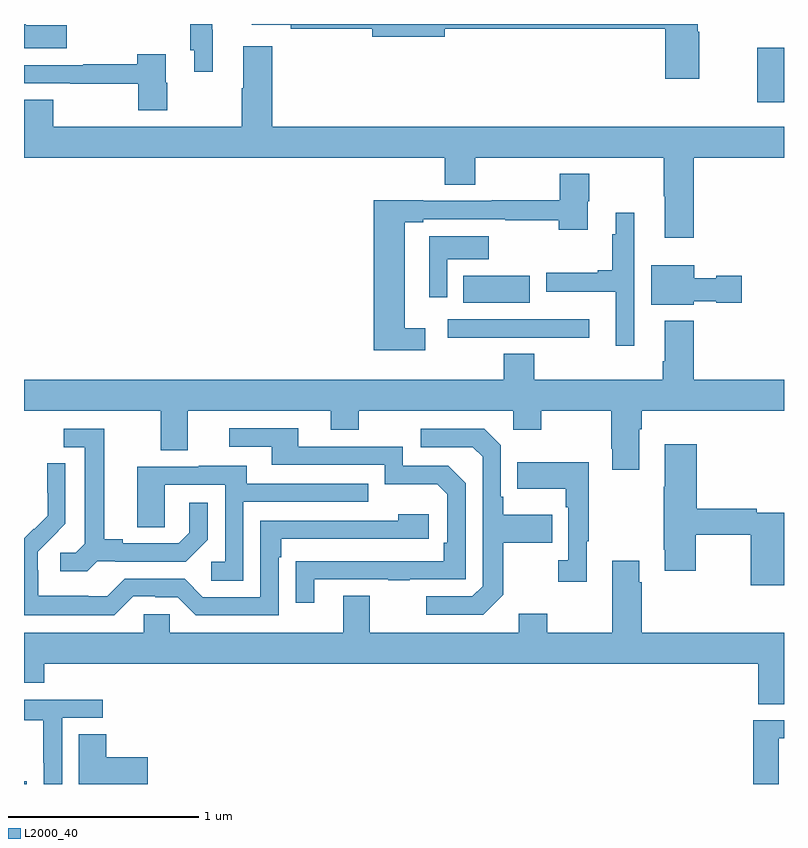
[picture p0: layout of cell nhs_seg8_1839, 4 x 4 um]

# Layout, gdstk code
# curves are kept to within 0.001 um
import gdstk
lib = gdstk.Library(unit=1e-6, precision=1e-09)
def R(c, l, rs):  # rectangles x0, y0, x1, y1
    for r in rs: c.add(gdstk.rectangle(r[:2], r[2:], *l))
def P(c, l, *ps):  # polygons
    for p in ps: c.add(gdstk.Polygon(p, *l))
L2000_40 = (2000, 40)

nhs_seg8_1839 = lib.new_cell('nhs_seg8_1839')
R(nhs_seg8_1839, L2000_40, [(229,1083.9,229.015,1083.915), (231.313,1086.434,231.663,1086.574), (232.858,1087.488,233,1087.774)])
P(nhs_seg8_1839, L2000_40, [(229.993,1087.871),(229.992,1087.871),(229.992,1087.9),(229.876,1087.9),(229.876,1087.762),(229.895,1087.762),(229.895,1087.65),(229.993,1087.65)],
  [(229.225,1087.894),(229.008,1087.894),(229.008,1087.9),(229,1087.9),(229,1087.773),(229.225,1087.773)],
  [(232.554,1087.859),(232.546,1087.859),(232.546,1087.9),(230.198,1087.9),(230.198,1087.896),(230.404,1087.896),(230.404,1087.876),(230.834,1087.876),(230.834,1087.834),(231.214,1087.834),(231.214,1087.876),(232.376,1087.876),(232.376,1087.611),(232.554,1087.611)],
  [(232.526,1087.196),(233,1087.196),(233,1087.36),(230.306,1087.36),(230.306,1087.783),(230.153,1087.783),(230.153,1087.562),(230.146,1087.562),(230.146,1087.36),(229.155,1087.36),(229.155,1087.502),(229,1087.502),(229,1087.196),(231.215,1087.196),(231.215,1087.054),(231.375,1087.054),(231.375,1087.196),(232.366,1087.196),(232.366,1086.994),(232.373,1086.994),(232.373,1086.774),(232.526,1086.774)],
  [(229.755,1087.59),(229.747,1087.59),(229.747,1087.741),(229.595,1087.741),(229.595,1087.688),(229.312,1087.688),(229.312,1087.683),(229,1087.683),(229,1087.587),(229.243,1087.587),(229.243,1087.585),(229.6,1087.585),(229.6,1087.446),(229.755,1087.446)],
  [(231.112,1086.299),(231.004,1086.299),(231.004,1086.857),(231.1,1086.857),(231.1,1086.873),(231.532,1086.873),(231.532,1086.868),(231.815,1086.868),(231.815,1086.816),(231.967,1086.816),(231.967,1086.966),(231.975,1086.966),(231.975,1087.111),(231.82,1087.111),(231.82,1086.972),(231.463,1086.972),(231.463,1086.969),(231.1,1086.969),(231.1,1086.972),(230.84,1086.972),(230.84,1086.182),(231.112,1086.182)],
  [(232.212,1086.685),(232.213,1086.685),(232.213,1086.907),(232.115,1086.907),(232.115,1086.794),(232.096,1086.794),(232.096,1086.604),(232.019,1086.604),(232.019,1086.591),(231.748,1086.591),(231.748,1086.491),(232.115,1086.491),(232.115,1086.207),(232.212,1086.207)],
  [(231.228,1086.662),(231.445,1086.662),(231.445,1086.783),(231.133,1086.783),(231.133,1086.68),(231.132,1086.68),(231.132,1086.462),(231.228,1086.462)],
  [(232.524,1086.44),(232.644,1086.44),(232.644,1086.433),(232.777,1086.433),(232.777,1086.575),(232.644,1086.575),(232.644,1086.562),(232.528,1086.562),(232.528,1086.631),(232.301,1086.631),(232.301,1086.422),(232.524,1086.422)],
  [(231.976,1086.346),(231.756,1086.346),(231.756,1086.345),(231.231,1086.345),(231.231,1086.249),(231.976,1086.249)],
  [(229,1085.864),(229.721,1085.864),(229.721,1085.656),(229.861,1085.656),(229.861,1085.864),(230.615,1085.864),(230.615,1085.765),(230.763,1085.765),(230.763,1085.864),(231.576,1085.864),(231.576,1085.765),(231.723,1085.765),(231.723,1085.864),(232.09,1085.864),(232.09,1085.665),(232.097,1085.665),(232.097,1085.553),(232.237,1085.553),(232.237,1085.768),(232.25,1085.768),(232.25,1085.864),(233,1085.864),(233,1086.028),(232.526,1086.028),(232.526,1086.337),(232.373,1086.337),(232.373,1086.124),(232.361,1086.124),(232.361,1086.028),(231.686,1086.028),(231.686,1086.164),(231.526,1086.164),(231.526,1086.028),(229,1086.028)],
  [(230.527,1084.977),(230.917,1084.977),(230.917,1084.972),(231.029,1084.972),(231.029,1084.977),(231.324,1084.977),(231.324,1085.484),(231.234,1085.574),(230.994,1085.574),(230.994,1085.676),(230.443,1085.676),(230.443,1085.772),(230.079,1085.772),(230.079,1085.676),(230.303,1085.676),(230.303,1085.58),(230.898,1085.58),(230.898,1085.477),(231.175,1085.477),(231.228,1085.424),(231.228,1085.17),(231.208,1085.17),(231.208,1085.073),(230.431,1085.072),(230.431,1084.854),(230.527,1084.854)],
  [(229.386,1085.073),(229.48,1085.073),(229.48,1085.07),(229.852,1085.07),(229.968,1085.186),(229.968,1085.38),(229.871,1085.38),(229.871,1085.223),(229.814,1085.166),(229.519,1085.166),(229.519,1085.189),(229.423,1085.189),(229.423,1085.769),(229.209,1085.769),(229.209,1085.673),(229.319,1085.673),(229.319,1085.165),(229.272,1085.118),(229.191,1085.118),(229.191,1085.021),(229.334,1085.021)],
  [(231.523,1084.897),(231.523,1085.17),(231.779,1085.17),(231.779,1085.317),(231.523,1085.317),(231.523,1085.413),(231.51,1085.413),(231.51,1085.682),(231.423,1085.769),(231.087,1085.769),(231.087,1085.673),(231.363,1085.673),(231.414,1085.622),(231.414,1084.941),(231.36,1084.887),(231.117,1084.887),(231.117,1084.791),(231.417,1084.791)],
  [(233,1085.328),(232.856,1085.328),(232.856,1085.348),(232.541,1085.348),(232.541,1085.689),(232.373,1085.689),(232.373,1085.465),(232.366,1085.465),(232.366,1085.134),(232.373,1085.134),(232.373,1085.022),(232.536,1085.022),(232.536,1085.212),(232.825,1085.212),(232.825,1084.947),(233,1084.947)],
  [(231.961,1085.177),(231.973,1085.177),(231.973,1085.593),(231.595,1085.593),(231.595,1085.453),(231.852,1085.453),(231.852,1085.357),(231.864,1085.357),(231.864,1085.078),(231.813,1085.078),(231.813,1084.965),(231.961,1084.965)],
  [(229.575,1084.887),(229.691,1084.887),(229.691,1084.884),(229.809,1084.884),(229.905,1084.788),(230.34,1084.788),(230.34,1085.093),(230.353,1085.093),(230.353,1085.19),(231.13,1085.19),(231.13,1085.32),(230.969,1085.32),(230.969,1085.286),(230.244,1085.286),(230.244,1084.884),(229.941,1084.884),(229.845,1084.98),(229.53,1084.98),(229.437,1084.887),(229.337,1084.887),(229.337,1084.891),(229.074,1084.891),(229.074,1085.025),(229.072,1085.025),(229.072,1085.122),(229.218,1085.27),(229.218,1085.588),(229.122,1085.588),(229.122,1085.434),(229.124,1085.434),(229.124,1085.312),(229.053,1085.241),(229.05,1085.244),(229,1085.194),(229,1084.787),(229.475,1084.787)],
  [(230.154,1085.385),(230.813,1085.385),(230.813,1085.481),(230.173,1085.481),(230.173,1085.575),(229.919,1085.575),(229.919,1085.571),(229.595,1085.571),(229.595,1085.251),(229.74,1085.251),(229.74,1085.475),(230.058,1085.475),(230.058,1085.07),(229.986,1085.07),(229.986,1084.969),(230.154,1084.969)],
  [(233,1084.696),(232.25,1084.696),(232.25,1084.961),(232.237,1084.961),(232.237,1085.074),(232.097,1085.074),(232.097,1084.696),(231.753,1084.696),(231.753,1084.795),(231.605,1084.795),(231.605,1084.696),(230.821,1084.696),(230.821,1084.891),(230.681,1084.891),(230.681,1084.696),(229.767,1084.696),(229.767,1084.794),(229.629,1084.794),(229.629,1084.696),(229,1084.696),(229,1084.433),(229.106,1084.433),(229.106,1084.532),(232.865,1084.532),(232.865,1084.321),(233,1084.321)],
  [(229.2,1084.248),(229.414,1084.248),(229.414,1084.344),(229,1084.344),(229,1084.236),(229.102,1084.236),(229.102,1084.012),(229.104,1084.012),(229.104,1083.9),(229.2,1083.9)],
  [(232.972,1084.14),(233,1084.14),(233,1084.236),(232.838,1084.236),(232.838,1083.9),(232.972,1083.9)],
  [(229.651,1084.04),(229.433,1084.04),(229.433,1084.163),(229.289,1084.163),(229.289,1083.9),(229.651,1083.9)])

lib.write_gds('nhs_seg8_1839.gds')
